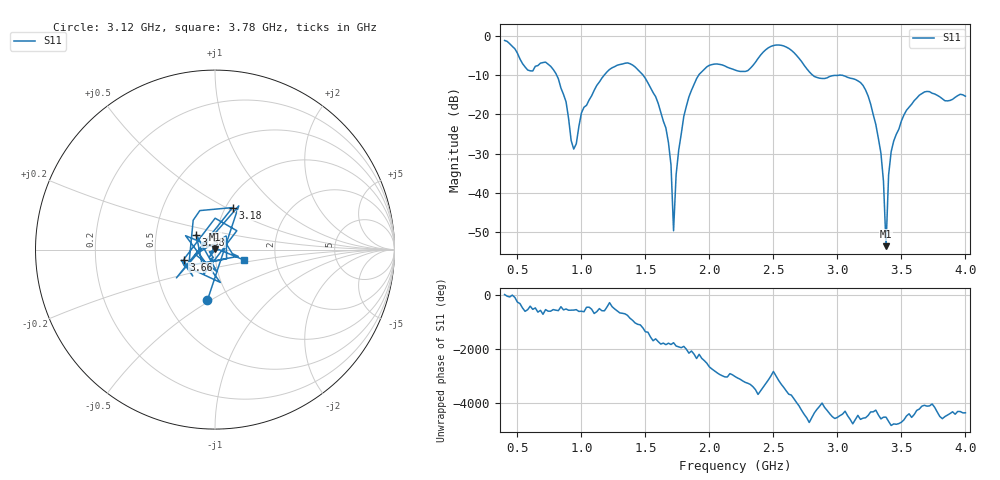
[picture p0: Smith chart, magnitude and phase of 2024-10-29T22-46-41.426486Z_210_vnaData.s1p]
!Created with skrf (http://scikit-rf.org).
# Hz S RI R 50.0
!freq ReS11 ImS11
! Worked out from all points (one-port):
!   181 points, 400 MHz to 4 GHz, reference 50 ohm
!   lowest |S11| = -53.5 dB at 3.38 GHz (marker M1), VSWR 1.00, Z = 49.8 + j0.107 ohm
!   |S11| at or under -10 dB: 806 MHz to 1.179 GHz (373 MHz wide, 37.6 % of centre); 1.481 GHz to 1.917 GHz (436 MHz wide, 25.7 % of centre); 2.806 GHz to end of sweep
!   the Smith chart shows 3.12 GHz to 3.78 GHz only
!   S11 on the Smith chart (normalised r, x): 3.12 GHz: 0.79, -0.48; 3.18 GHz: 1.08, +0.54; 3.58 GHz: 0.80, +0.14; 3.66 GHz: 0.70, -0.08; 3.78 GHz: 1.38, -0.17
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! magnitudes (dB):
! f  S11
! 400 MHz  -1.2
! 580 MHz  -8.7
! 760 MHz  -7.8
! 860 MHz  -14.9
! 940 MHz  -28.8
! 1.02 GHz  -18.2
! 1.3 GHz  -7.3
! 1.6 GHz  -17.2
! 1.68 GHz  -27.2
! 1.7 GHz  -32.9
! 1.72 GHz  -49.6
! 1.76 GHz  -29.2
! 1.92 GHz  -9.8
! 2.2 GHz  -8.7
! 2.66 GHz  -4.3
! 3.1 GHz  -10.8
! 3.12 GHz  -10.9
! 3.18 GHz  -11.9
! 3.34 GHz  -29.9
! 3.36 GHz  -37.0
! 3.38 GHz  -53.5
! 3.4 GHz  -35.5
! 3.42 GHz  -29.5
! 3.56 GHz  -18.2
! 3.58 GHz  -17.4
! 3.66 GHz  -14.7
! 3.78 GHz  -15.2
! 4 GHz  -15.4
